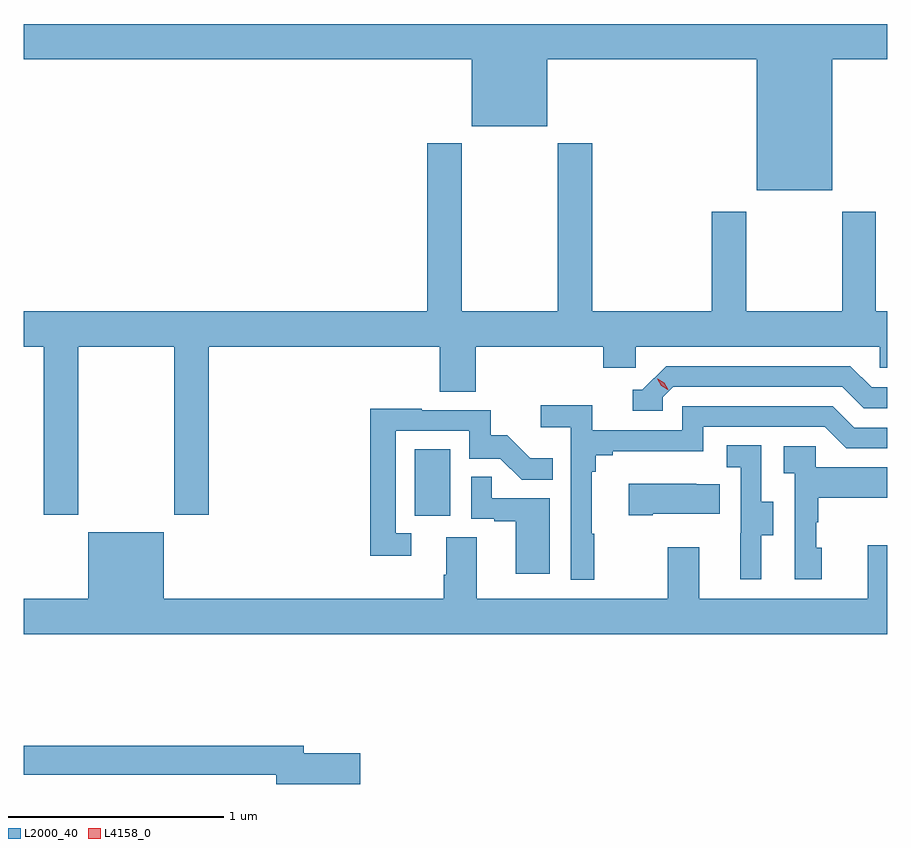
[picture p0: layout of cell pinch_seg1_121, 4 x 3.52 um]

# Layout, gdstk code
import gdstk
lib = gdstk.Library(unit=1e-6, precision=1e-09)
def R(c, l, rs):  # rectangles x0, y0, x1, y1
    for r in rs: c.add(gdstk.rectangle(r[:2], r[2:], *l))
def P(c, l, *ps):  # polygons
    for p in ps: c.add(gdstk.Polygon(p, *l))
L2000_40 = (2000, 40)
L4158_0 = (4158, 0)

pinch_seg1_121 = lib.new_cell('pinch_seg1_121')
R(pinch_seg1_121, L2000_40, [(1066.64,548.286,1066.804,548.593)])
P(pinch_seg1_121, L2000_40, [(1068.574,550.4),(1068.829,550.4),(1068.829,550.564),(1064.829,550.564),(1064.829,550.4),(1066.904,550.4),(1066.904,550.091),(1067.254,550.091),(1067.254,550.4),(1068.224,550.4),(1068.224,549.794),(1068.574,549.794)],
  [(1065.081,549.068),(1065.526,549.068),(1065.526,548.289),(1065.686,548.289),(1065.686,549.068),(1066.757,549.068),(1066.757,548.86),(1066.922,548.86),(1066.922,549.068),(1067.513,549.068),(1067.513,548.97),(1067.664,548.97),(1067.664,549.068),(1068.795,549.068),(1068.795,548.97),(1068.829,548.97),(1068.829,549.232),(1068.777,549.232),(1068.777,549.694),(1068.622,549.694),(1068.622,549.232),(1068.177,549.232),(1068.177,549.694),(1068.017,549.694),(1068.017,549.232),(1067.462,549.232),(1067.462,550.012),(1067.302,550.012),(1067.302,549.232),(1066.857,549.232),(1066.857,550.012),(1066.697,550.012),(1066.697,549.232),(1064.829,549.232),(1064.829,549.068),(1064.921,549.068),(1064.921,548.289),(1065.081,548.289)],
  [(1067.79,548.835),(1067.838,548.883),(1068.621,548.883),(1068.72,548.784),(1068.829,548.784),(1068.829,548.88),(1068.757,548.88),(1068.658,548.979),(1067.805,548.979),(1067.694,548.868),(1067.651,548.868),(1067.651,548.772),(1067.79,548.772)],
  [(1067.473,548.201),(1067.461,548.201),(1067.461,548.489),(1067.48,548.489),(1067.48,548.566),(1067.557,548.566),(1067.557,548.585),(1067.976,548.585),(1067.976,548.697),(1068.54,548.697),(1068.639,548.598),(1068.829,548.598),(1068.829,548.694),(1068.676,548.694),(1068.577,548.793),(1067.88,548.793),(1067.88,548.682),(1067.462,548.682),(1067.462,548.798),(1067.223,548.798),(1067.223,548.696),(1067.364,548.696),(1067.364,547.989),(1067.473,547.989)],
  [(1066.624,548.205),(1066.551,548.205),(1066.551,548.679),(1066.893,548.679),(1066.893,548.55),(1067.037,548.55),(1067.135,548.452),(1067.279,548.452),(1067.279,548.551),(1067.175,548.551),(1067.068,548.658),(1066.992,548.658),(1066.992,548.775),(1066.673,548.775),(1066.673,548.78),(1066.435,548.78),(1066.435,548.1),(1066.624,548.1)],
  [(1068.247,548.194),(1068.301,548.194),(1068.301,548.349),(1068.246,548.349),(1068.246,548.612),(1068.087,548.612),(1068.087,548.509),(1068.15,548.509),(1068.15,548.205),(1068.149,548.205),(1068.149,547.992),(1068.247,547.992)],
  [(1068.526,548.136),(1068.501,548.136),(1068.501,548.255),(1068.511,548.255),(1068.511,548.369),(1068.829,548.369),(1068.829,548.509),(1068.498,548.509),(1068.498,548.607),(1068.351,548.607),(1068.351,548.483),(1068.402,548.483),(1068.402,547.992),(1068.526,547.992)],
  [(1067.266,548.367),(1066.997,548.367),(1066.997,548.465),(1066.902,548.465),(1066.902,548.271),(1067.009,548.271),(1067.009,548.259),(1067.108,548.259),(1067.108,548.016),(1067.266,548.016)],
  [(1067.743,548.294),(1068.053,548.294),(1068.053,548.431),(1067.945,548.431),(1067.945,548.434),(1067.631,548.434),(1067.631,548.287),(1067.743,548.287)],
  [(1068.829,548.149),(1068.74,548.149),(1068.74,547.9),(1067.959,547.9),(1067.959,548.14),(1067.812,548.14),(1067.812,547.9),(1066.927,547.9),(1066.927,548.186),(1066.787,548.186),(1066.787,548.012),(1066.775,548.012),(1066.775,547.9),(1065.478,547.9),(1065.478,548.209),(1065.128,548.209),(1065.128,547.9),(1064.829,547.9),(1064.829,547.736),(1068.829,547.736)],
  [(1066.387,547.184),(1066.126,547.184),(1066.126,547.22),(1064.829,547.22),(1064.829,547.084),(1065.998,547.084),(1065.998,547.042),(1066.387,547.042)])
P(pinch_seg1_121, L4158_0, [(1067.813,548.868),(1067.782,548.888),(1067.765,548.92),(1067.765,548.92),(1067.766,548.92),(1067.797,548.901),(1067.814,548.868),(1067.814,548.868)])

lib.write_gds('pinch_seg1_121.gds')
